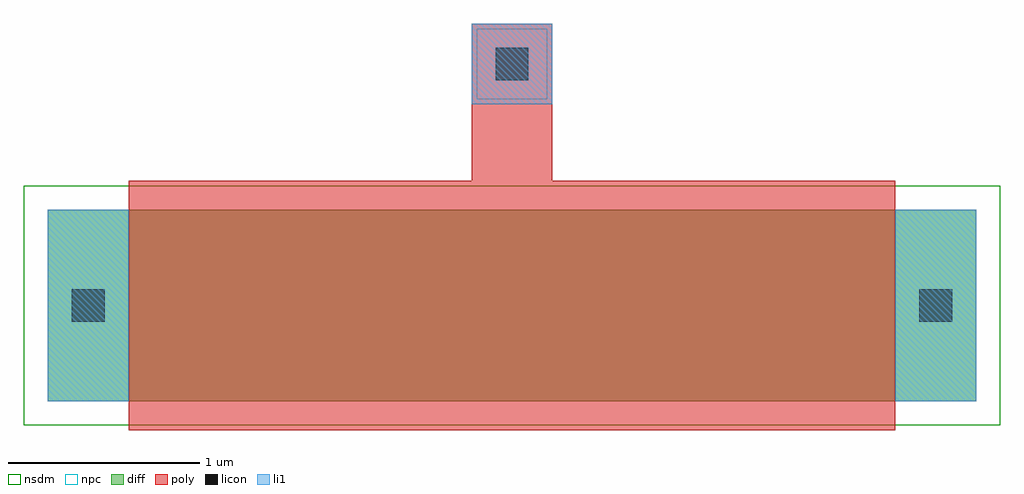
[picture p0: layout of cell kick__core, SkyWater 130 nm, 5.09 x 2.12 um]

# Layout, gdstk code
import gdstk
lib = gdstk.Library(unit=1e-6, precision=1e-09)
def R(c, l, rs):  # rectangles x0, y0, x1, y1
    for r in rs: c.add(gdstk.rectangle(r[:2], r[2:], *l))
diff = (65, 20)
poly = (66, 20)
licon = (66, 44)
li1 = (67, 20)
nsdm = (93, 44)
npc = (95, 20)

kick__core = lib.new_cell('kick__core')
R(kick__core, diff, [(0,0,4.84,1)])
R(kick__core, poly, [(0.42,-0.15,4.42,1), (0.42,1,4.42,1.15), (0.42,1,4.42,1.15), (2.21,1.15,2.63,1.97)])
R(kick__core, licon, [(0.125,0.415,0.295,0.585), (4.545,0.415,4.715,0.585), (2.335,1.675,2.505,1.845)])
R(kick__core, li1, [(0,0,0.42,1), (4.42,0,4.84,1), (2.21,1.55,2.63,1.97)])
R(kick__core, nsdm, [(-0.125,-0.125,4.965,1.125)])
R(kick__core, npc, [(2.235,1.575,2.605,1.945)])

lib.write_gds('kick__core.gds')
